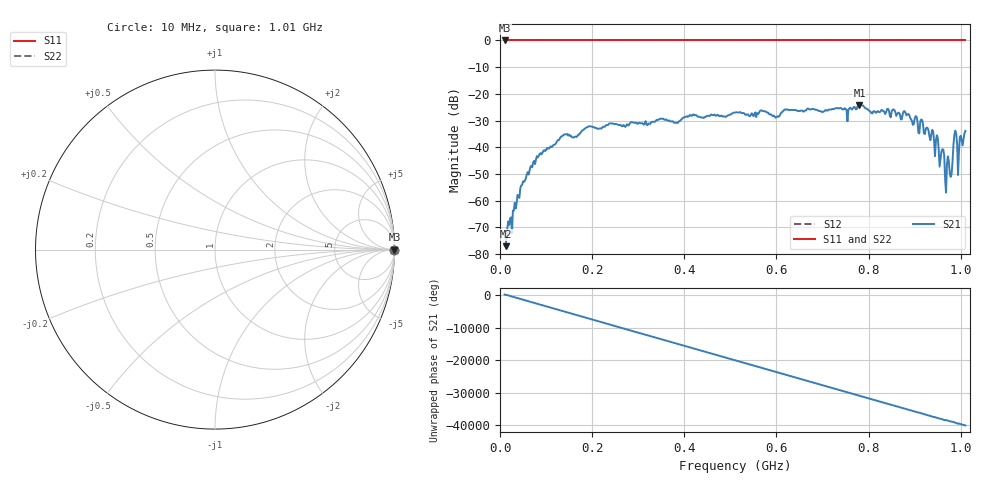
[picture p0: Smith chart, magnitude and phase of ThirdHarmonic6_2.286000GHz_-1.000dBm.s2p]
! 8/17/2025 3:00:08 AM
! C:\ANRITSUVNA\TEMP\TEMP.S2P
! CHANNEL.1
! TR.MEASUREMENT
! RAW.DATA
! RF.CORRECTION.OFF
! AVERAGING.OFF
! IF.BANDWIDTH: 5KHZ
! SWEEPTYPE:  FREQ.SWEEP(Linear)
! Reference Plane Port Info
! PORT:  PORT1  PORT2
! DISTANCE:  0  m  0  m
! TIME:  0  s  0  s
! PHASE.OFFSET:  0  deg.  0  deg.
! LOSS:  0  dB  0  dB
! REF.LOSS:  0  dB  0  dB
! REF.FREQ:  0  Hz  0  Hz
! Power Info
! POWER:  -20  dBm  -20  dBm
! EFF.POWER:  -20  dBm  -20  dBm
! SOURCE.ATTEN:  0  dB  0  dB
! TEST.ATTEN:  0  dB  0  dB
# GHZ S RI R 50.0
! FREQ.GHZ  S11RE  S11IM  S21RE  S21IM  S12RE  S12IM  S22RE  S22IM
!; PortSelection: Port_12
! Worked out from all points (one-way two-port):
!   501 points, 10 MHz to 1.01 GHz, reference 50 ohm
!   highest |S21| = -24.18 dB at 780 MHz (marker M1); lowest = -77.1 dB at 12 MHz (marker M2)
!   lowest |S11| = 0.0 dB at 10 MHz (marker M3)
!   |S11| at or under -10 dB: nowhere
!   |S22| runs from 0.0 to 0.0 dB; largest |S21 - S12| = 1.1
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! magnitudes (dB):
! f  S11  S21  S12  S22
! 10 MHz  0.0  -76.8  0.0  0.0
! 12 MHz  0.0  -77.1  0.0  0.0
! 20 MHz  0.0  -69.1  0.0  0.0
! 48 MHz  0.0  -54.1  0.0  0.0
! 82 MHz  0.0  -43.8  0.0  0.0
! 136 MHz  0.0  -35.8  0.0  0.0
! 178 MHz  0.0  -33.8  0.0  0.0
! 344 MHz  0.0  -29.7  0.0  0.0
! 510 MHz  0.0  -27.0  0.0  0.0
! 600 MHz  0.0  -28.6  0.0  0.0
! 620 MHz  0.0  -25.9  0.0  0.0
! 678 MHz  0.0  -25.7  0.0  0.0
! 754 MHz  0.0  -30.3  0.0  0.0
! 780 MHz  0.0  -24.2  0.0  0.0
! 844 MHz  0.0  -26.2  0.0  0.0
! 916 MHz  0.0  -29.8  0.0  0.0
! 960 MHz  0.0  -40.8  0.0  0.0
! 970 MHz  0.0  -46.3  0.0  0.0
! 980 MHz  0.0  -50.1  0.0  0.0
! 988 MHz  0.0  -33.8  0.0  0.0
! 996 MHz  0.0  -41.9  0.0  0.0
! 1.01 GHz  0.0  -33.9  0.0  0.0
